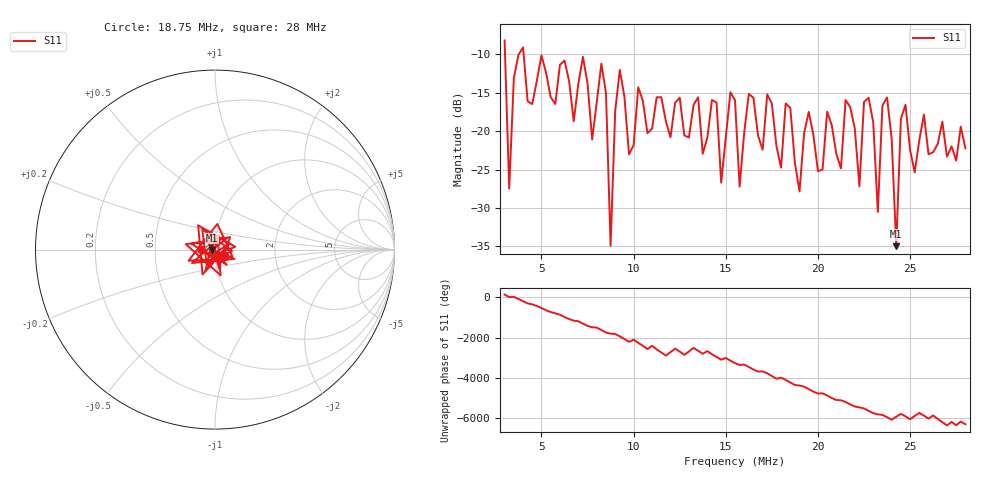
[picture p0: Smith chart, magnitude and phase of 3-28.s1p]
# HZ S RI R 50
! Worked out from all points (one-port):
!   101 points, 3 MHz to 28 MHz, reference 50 ohm
!   lowest |S11| = -35.0 dB at 24.25 MHz (marker M1), VSWR 1.04, Z = 48.3 - j0.258 ohm
!   |S11| at or under -10 dB: 3.024 MHz to 3.766 MHz (742.5 kHz wide, 21.9 % of centre); 4.032 MHz to end of sweep
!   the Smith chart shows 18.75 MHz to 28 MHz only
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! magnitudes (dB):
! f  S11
! 3 MHz  -8.2
! 3.25 MHz  -27.5
! 3.75 MHz  -10.1
! 6.25 MHz  -10.8
! 7.25 MHz  -10.3
! 7.75 MHz  -21.1
! 8.25 MHz  -11.2
! 8.5 MHz  -15.1
! 8.75 MHz  -34.9
! 9.25 MHz  -12.0
! 9.75 MHz  -23.0
! 10.25 MHz  -14.3
! 12.5 MHz  -15.6
! 14.5 MHz  -16.3
! 14.75 MHz  -26.7
! 15.5 MHz  -16.0
! 15.75 MHz  -27.2
! 16.25 MHz  -15.1
! 18.75 MHz  -24.1
! 21.75 MHz  -16.9
! 22.25 MHz  -27.2
! 22.75 MHz  -15.7
! 23.25 MHz  -30.5
! 23.75 MHz  -15.6
! 24.25 MHz  -35.0
! 24.5 MHz  -18.4
! 25 MHz  -22.5
! 28 MHz  -22.2
